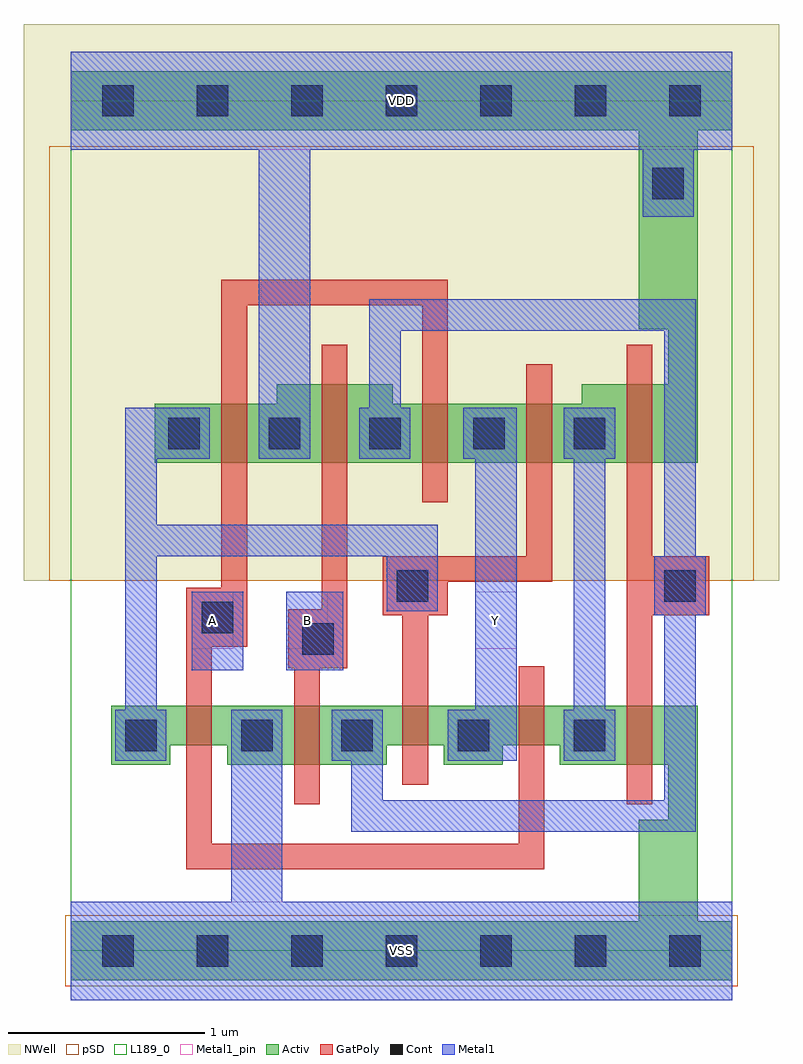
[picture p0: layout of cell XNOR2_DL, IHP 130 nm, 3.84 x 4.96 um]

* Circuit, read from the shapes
.subckt XNOR2_DL A B VDD VSS Y
XM1 VSS A n1 VSS sg13_lv_nmos w=0.2u l=0.13u
XM2 n2 B VSS VSS sg13_lv_nmos w=0.3u l=0.13u
XM3 Y n1 n2 VSS sg13_lv_nmos w=0.2u l=0.13u
XM4 n3 A Y VSS sg13_lv_nmos w=0.2u l=0.13u
XM5 VSS n2 n3 VSS sg13_lv_nmos w=0.3u l=0.13u
XM6 VDD A n1 VDD sg13_lv_pmos w=0.3u l=0.13u
XM7 n2 B VDD VDD sg13_lv_pmos w=0.4u l=0.13u
XM8 Y A n2 VDD sg13_lv_pmos w=0.3u l=0.13u
XM9 n3 n1 Y VDD sg13_lv_pmos w=0.3u l=0.13u
XM10 VDD n2 n3 VDD sg13_lv_pmos w=0.4u l=0.13u
.ends

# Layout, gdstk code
import gdstk
lib = gdstk.Library(unit=1e-6, precision=1e-09)
def R(c, l, rs):  # rectangles x0, y0, x1, y1
    for r in rs: c.add(gdstk.rectangle(r[:2], r[2:], *l))
def A(c, l, x, y, w, h, nx, ny, dx, dy):  # array of equal rectangles
    R(c, l, [(x+i*dx, y+j*dy, x+i*dx+w, y+j*dy+h) for i in range(nx) for j in range(ny)])
def P(c, l, *ps):  # polygons
    for p in ps: c.add(gdstk.Polygon(p, *l))
Activ = (1, 0)
GatPoly = (5, 0)
Cont = (6, 0)
Metal1 = (8, 0)
Metal1_pin = (8, 2)
pSD = (14, 0)
NWell = (31, 0)
L189_0 = (189, 0)

xnor2_dl = lib.new_cell('XNOR2_DL')
P(xnor2_dl, Activ, [(0,-0.15),(0,0.15),(2.885,0.15),(2.885,0.665),(3.035,0.665),(3.035,0.945),(2.485,0.945),(2.485,1.045),(2.195,1.045),(2.195,0.945),(1.895,0.945),(1.895,1.045),(1.605,1.045),(1.605,0.945),(0.795,0.945),(0.795,1.045),(0.505,1.045),(0.505,0.945),(0.205,0.945),(0.205,1.245),(3.185,1.245),(3.185,0.15),(3.36,0.15),(3.36,-0.15)],
  [(0.425,2.48),(0.425,2.78),(1.045,2.78),(1.045,2.88),(1.635,2.88),(1.635,2.78),(2.595,2.78),(2.595,2.88),(3.035,2.88),(3.035,3.16),(2.885,3.16),(2.885,4.17),(0,4.17),(0,4.47),(3.36,4.47),(3.36,4.17),(3.185,4.17),(3.185,2.48)])
P(xnor2_dl, GatPoly, [(1.685,0.845),(1.685,1.705),(1.585,1.705),(1.585,2.005),(2.315,2.005),(2.315,2.98),(2.445,2.98),(2.445,1.875),(1.915,1.875),(1.915,1.705),(1.815,1.705),(1.815,0.845)],
  [(1.135,0.745),(1.135,1.435),(1.105,1.435),(1.105,1.735),(1.275,1.735),(1.275,3.08),(1.405,3.08),(1.405,1.435),(1.265,1.435),(1.265,0.745)],
  [(2.825,0.745),(2.825,3.08),(2.955,3.08),(2.955,2.005),(3.245,2.005),(3.245,1.705),(2.955,1.705),(2.955,0.745)],
  [(0.585,0.415),(0.585,1.845),(0.765,1.845),(0.765,3.41),(1.915,3.41),(1.915,2.28),(1.785,2.28),(1.785,3.28),(0.895,3.28),(0.895,1.545),(0.715,1.545),(0.715,0.545),(2.275,0.545),(2.275,1.445),(2.405,1.445),(2.405,0.415)])
A(xnor2_dl, Cont, 0.16, -0.08, 0.16, 0.16, 7, 2, 0.48, 4.32)
A(xnor2_dl, Cont, 1.375, 1.015, 0.16, 0.16, 3, 1, 0.59, 0)
A(xnor2_dl, Cont, 0.495, 2.55, 0.16, 0.16, 3, 1, 0.51, 0)
R(xnor2_dl, Cont, [(0.275,1.015,0.435,1.175), (0.865,1.015,1.025,1.175), (1.175,1.505,1.335,1.665), (0.665,1.615,0.825,1.775), (1.655,1.775,1.815,1.935), (3.015,1.775,3.175,1.935), (2.045,2.55,2.205,2.71), (2.555,2.55,2.715,2.71), (2.955,3.82,3.115,3.98)])
R(xnor2_dl, Metal1, [(0.615,1.425,0.875,1.825), (1.095,1.425,1.385,1.825)])
P(xnor2_dl, Metal1, [(0,-0.25),(0,0.25),(0.815,0.25),(0.815,1.225),(1.075,1.225),(1.075,0.25),(3.36,0.25),(3.36,-0.25)],
  [(0.225,0.965),(0.225,1.225),(0.275,1.225),(0.275,2.76),(0.705,2.76),(0.705,2.5),(0.435,2.5),(0.435,2.165),(1.865,2.165),(1.865,1.725),(1.605,1.725),(1.605,2.005),(0.435,2.005),(0.435,1.225),(0.485,1.225),(0.485,0.965)],
  [(1.915,0.965),(1.915,1.225),(2.055,1.225),(2.055,2.5),(1.995,2.5),(1.995,2.76),(2.265,2.76),(2.265,0.965)],
  [(2.505,0.965),(2.505,1.225),(2.555,1.225),(2.555,2.5),(2.505,2.5),(2.505,2.76),(2.765,2.76),(2.765,2.5),(2.715,2.5),(2.715,1.225),(2.765,1.225),(2.765,0.965)],
  [(1.425,0.605),(1.425,0.965),(1.325,0.965),(1.325,1.225),(1.585,1.225),(1.585,0.765),(3.015,0.765),(3.015,1.705),(2.965,1.705),(2.965,2.005),(3.015,2.005),(3.015,3.15),(1.675,3.15),(1.675,2.76),(1.725,2.76),(1.725,2.5),(1.465,2.5),(1.465,2.76),(1.515,2.76),(1.515,3.31),(3.175,3.31),(3.175,2.005),(3.225,2.005),(3.225,1.705),(3.175,1.705),(3.175,0.605)],
  [(0.955,2.5),(0.955,4.07),(0,4.07),(0,4.57),(3.36,4.57),(3.36,4.07),(3.165,4.07),(3.165,3.73),(2.905,3.73),(2.905,4.07),(1.215,4.07),(1.215,2.5)])
R(xnor2_dl, Metal1_pin, [(0,-0.25,3.36,0.25), (0.615,1.535,0.825,1.825), (1.095,1.535,1.305,1.825), (2.055,1.535,2.265,1.825), (0,4.07,3.36,4.57)])
R(xnor2_dl, pSD, [(-0.03,-0.18,3.39,0.18), (-0.11,1.88,3.47,4.09)])
R(xnor2_dl, NWell, [(-0.24,1.88,3.6,4.71)])
R(xnor2_dl, L189_0, [(0,0,3.36,4.32)])
xnor2_dl.add(gdstk.Label('Y', (2.16,1.68), layer=8, texttype=25))
xnor2_dl.add(gdstk.Label('VSS', (1.68,0), layer=8, texttype=25))
xnor2_dl.add(gdstk.Label('VDD', (1.68,4.32), layer=8, texttype=25))
xnor2_dl.add(gdstk.Label('A', (0.72,1.68), layer=8, texttype=25))
xnor2_dl.add(gdstk.Label('B', (1.2,1.68), layer=8, texttype=25))

lib.write_gds('XNOR2_DL.gds')
